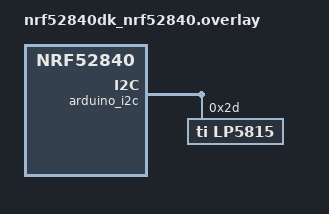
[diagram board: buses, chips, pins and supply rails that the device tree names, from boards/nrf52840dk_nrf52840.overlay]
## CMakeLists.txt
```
# SPDX-License-Identifier: Apache-2.0

cmake_minimum_required(VERSION 3.20.0)

# Infuse-IoT application
if(NOT infuse IN_LIST SNIPPET)
  set(SNIPPET infuse ${SNIPPET} CACHE STRING "" FORCE)
endif()

find_package(Zephyr REQUIRED HINTS $ENV{ZEPHYR_BASE})
project(lp581x)

target_sources(app PRIVATE
  src/main.c
)
```

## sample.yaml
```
sample:
  description: LED driver demonstration application
  name: LP581x Demo
common:
  tags:
    - led
    - epacket
    - kv_store
    - logging
    - rpc
    - states
    - tdf
  filter: dt_compat_enabled("ti,lp5815") or dt_compat_enabled("ti,lp5817")
  required_snippets:
    - infuse
  integration_platforms:
    - nrf52840dk/nrf52840
  build_only: true
tests:
  sample.led.lp581x: {}
```

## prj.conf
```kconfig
CONFIG_INFUSE_SDK=y
CONFIG_LED=y
```

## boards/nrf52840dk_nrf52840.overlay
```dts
/*
 * Copyright (c) 2025 Embeint Inc
 *
 * SPDX-License-Identifier: Apache-2.0
 */

#include <zephyr/dt-bindings/led/led.h>

/ {
	aliases {
		led-controller0 = &lp5815;
	};
};

&arduino_i2c {
	lp5815: lp5815@2d {
		compatible = "ti,lp5815";
		reg = <0x2d>;
		/* 1/4 of maximum current (~6mA) */
		out0-current-max = <0x40>;
		out1-current-max = <0x40>;
		out2-current-max = <0x40>;

		fade-duration-ms = <200>;
		exponential-fading;

		led_0 {
			index = <0>;
			color-mapping = <LED_COLOR_ID_RED>;
		};
		led_1 {
			index = <1>;
			color-mapping = <LED_COLOR_ID_GREEN>;
		};
		led_2 {
			index = <2>;
			color-mapping = <LED_COLOR_ID_BLUE>;
		};
	};
};
```

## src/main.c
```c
/**
 * @file
 * @copyright 2025 Embeint Holdings Pty Ltd
 * @author Jordan Yates <jordan@embeint.com>
 *
 * SPDX-License-Identifier: FSL-1.1-ALv2
 */

#include <stdio.h>

#include <zephyr/kernel.h>
#include <zephyr/device.h>
#include <zephyr/drivers/led.h>
#include <zephyr/pm/device_runtime.h>
#include <zephyr/logging/log.h>

#include <infuse/drivers/led/lp581x.h>

LOG_MODULE_REGISTER(app, LOG_LEVEL_INF);

static int demo_pattern(const struct device *dev, const struct lp581x_animation_pattern *pattern,
			uint8_t num_patterns, const struct lp581x_animation_engines_config *engines,
			uint8_t leds, k_timeout_t duration)
{
	int rc;

	for (int i = 0; i < num_patterns; i++) {
		rc = lp581x_animation_pattern_program(dev, i, pattern + i);
		if (rc != 0) {
			LOG_ERR("Failed to program pattern %d (%d)", i, rc);
			return rc;
		}
	}

	rc = lp581x_animation_engines_configure(dev, engines);
	if (rc != 0) {
		LOG_ERR("Failed to configure animation engines (%d)", rc);
		return rc;
	}

	rc = lp581x_animation_start(dev, leds);
	if (rc != 0) {
		LOG_ERR("Failed to start animation (%d)", rc);
		return rc;
	}
	LOG_INF("Animation engine started");

	k_sleep(duration);

	rc = lp581x_animation_stop(dev);
	if (rc != 0) {
		LOG_ERR("Failed to stop animation (%d)", rc);
		return rc;
	}
	LOG_INF("Animation engine stopped");

	return 0;
}

static int blink_5hz(const struct device *dev, uint8_t leds, k_timeout_t duration)
{
	/* From EVK User Guide Table 3-2 */
	const struct lp581x_animation_pattern pattern = {
		.pre_pause =
			{
				.pwm = 0,
				.duration = LP581X_PHASE_0_MS,
			},
		.sloper = {.play_count = LP581X_PATTERN_PLAY_FOREVER,
			   .pwm = {255, 255, 0},
			   .duration = {LP581X_PHASE_100_MS, LP581X_PHASE_0_MS, LP581X_PHASE_100_MS,
					LP581X_PHASE_0_MS}},
		.post_pause =
			{
				.pwm = 0,
				.duration = LP581X_PHASE_0_MS,
			},
	};

	const struct lp581x_animation_engines_config engines = {
		.led_channel_engines = {LP581X_ENGINE_0, LP581X_ENGINE_0, LP581X_ENGINE_0},
		.num_engines = 1,
		.engines[0] =
			{
				.order = {LP581X_PATTERN_0, LP581X_PATTERN_SKIP,
					  LP581X_PATTERN_SKIP, LP581X_PATTERN_SKIP},
				.repeats = LP581X_ENGINE_REPEAT_FOREVER,
			},
	};

	return demo_pattern(dev, &pattern, 1, &engines, leds, duration);
}

static int breathing(const struct device *dev, uint8_t leds, k_timeout_t duration)
{
	/* From EVK User Guide Table 3-3 */
	const struct lp581x_animation_pattern pattern = {
		.pre_pause =
			{
				.pwm = 0,
				.duration = LP581X_PHASE_0_MS,
			},
		.sloper = {.play_count = LP581X_PATTERN_PLAY_FOREVER,
			   .pwm = {255, 255, 0},
			   .duration = {LP581X_PHASE_1000_MS, LP581X_PHASE_200_MS,
					LP581X_PHASE_1000_MS, LP581X_PHASE_200_MS}},
		.post_pause =
			{
				.pwm = 0,
				.duration = LP581X_PHASE_0_MS,
			},
	};

	const struct lp581x_animation_engines_config engines = {
		.led_channel_engines = {LP581X_ENGINE_0, LP581X_ENGINE_0, LP581X_ENGINE_0},
		.num_engines = 1,
		.engines[0] =
			{
				.order = {LP581X_PATTERN_0, LP581X_PATTERN_SKIP,
					  LP581X_PATTERN_SKIP, LP581X_PATTERN_SKIP},
				.repeats = LP581X_ENGINE_REPEAT_FOREVER,
			},
	};

	return demo_pattern(dev, &pattern, 1, &engines, leds, duration);
}

static int rainbow(const struct device *dev, k_timeout_t duration)
{
	const struct lp581x_animation_pattern patterns[2] = {
		{
			.pre_pause =
				{
					.pwm = 0,
					.duration = LP581X_PHASE_200_MS,
				},
			.sloper = {.play_count = 1,
				   .pwm = {160, 255, 160},
				   .duration = {LP581X_PHASE_300_MS, LP581X_PHASE_200_MS,
						LP581X_PHASE_200_MS, LP581X_PHASE_300_MS}},
			.post_pause =
				{
					.pwm = 0,
					.duration = LP581X_PHASE_0_MS,
				},
		},
		{
			.pre_pause =
				{
					.pwm = 0,
					.duration = LP581X_PHASE_1000_MS,
				},
		}};
	const struct lp581x_animation_engines_config engines = {
		.led_channel_engines = {LP581X_ENGINE_0, LP581X_ENGINE_1, LP581X_ENGINE_2},
		.num_engines = 3,
		.engines[0] =
			{
				.order = {LP581X_PATTERN_0, LP581X_PATTERN_1, LP581X_PATTERN_1,
					  LP581X_PATTERN_SKIP},
				.repeats = LP581X_ENGINE_REPEAT_FOREVER,
			},
		.engines[1] =
			{
				.order = {LP581X_PATTERN_1, LP581X_PATTERN_0, LP581X_PATTERN_1,
					  LP581X_PATTERN_SKIP},
				.repeats = LP581X_ENGINE_REPEAT_FOREVER,
			},
		.engines[2] =
			{
				.order = {LP581X_PATTERN_1, LP581X_PATTERN_1, LP581X_PATTERN_0,
					  LP581X_PATTERN_SKIP},
				.repeats = LP581X_ENGINE_REPEAT_FOREVER,
			},
	};

	return demo_pattern(dev, patterns, 2, &engines, 0x07, duration);
}

int main(void)
{
	const struct device *dev = DEVICE_DT_GET(DT_ALIAS(led_controller0));
	/* clang-format off */
	const struct led_dt_spec leds[] = {
		DT_FOREACH_CHILD_SEP(DT_ALIAS(led_controller0), LED_DT_SPEC_GET, (,))};
	/* clang-format on */

	/* Power up device */
	if (pm_device_runtime_get(dev) < 0) {
		LOG_ERR("Failed to power up %s", dev->name);
		return -ENODEV;
	}

	/* Channel 1 5Hz */
	if (blink_5hz(dev, 0x2, K_SECONDS(5)) < 0) {
		return -EIO;
	}
	k_sleep(K_SECONDS(1));

	/* Channels 0,1,2 breathing */
	if (breathing(dev, 0x7, K_SECONDS(5)) < 0) {
		return -EIO;
	}
	k_sleep(K_SECONDS(1));

	/* Channel combinations */
	if (rainbow(dev, K_SECONDS(10)) < 0) {
		return -EIO;
	}
	k_sleep(K_SECONDS(1));

	/* Revert to basic blinking forever */
	for (;;) {
		led_on_dt(&leds[0]);
		k_sleep(K_SECONDS(1));
		led_off_dt(&leds[0]);
		k_sleep(K_SECONDS(1));
	}
	return 0;
}
```
